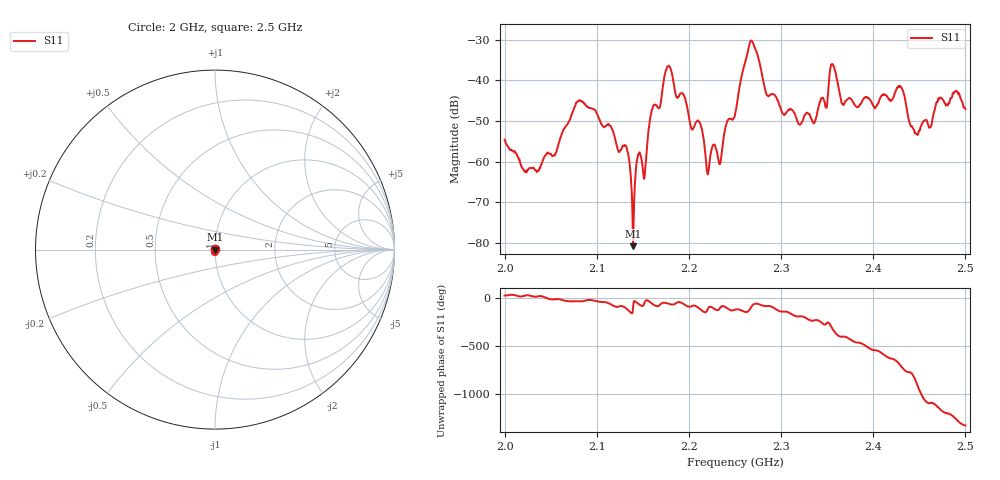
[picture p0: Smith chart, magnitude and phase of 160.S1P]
! C:\Users\rflab\Downloads\dp2_kdzw\160.S1P
! Touchstone 1.1 file saved by VNA.EXE V1.65 (www.ke5fx.com/gpib/readme.htm)
! 12/12/2024 6:59:00 PM
!  Source: HEWLETT PACKARD,8753D,0,6.14
!  Min freq: 2.000000E+009 Hz
!  Max freq: 2.500000E+009 Hz
!  Points: 801
!  Params: S21
# GHZ S MA R 50
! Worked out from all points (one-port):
!   801 points, 2 GHz to 2.5 GHz, reference 50 ohm
!   lowest |S11| = -80.8 dB at 2.139 GHz (marker M1), VSWR 1.00, Z = 50 - j0.00904 ohm
!   |S11| at or under -10 dB: start of sweep to end of sweep
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2  0.001861 28.2
2.035  0.000741 17.3
2.0625  0.002251 -19.2
2.083125  0.005573 -32.5
2.125  0.001351 -84.5
2.133125  0.001346 -116.8
2.139375  9.1e-05 -96.5
2.145  0.001232 -58.0
2.151875  0.000646 -44.8
2.159375  0.004064 -51.3
2.175625  0.01369 -51.2
2.1875  0.006051 -44.0
2.211875  0.003019 -112.5
2.220625  0.000695 -112.1
2.25  0.0038 -121.3
2.268125  0.03075 -84.5
2.285  0.006535 -81.5
2.3125  0.00426 -173.5
2.33625  0.003015 128.9
2.34875  0.004625 90.6
2.355625  0.01593 40.8
2.36625  0.005136 -43.8
2.375  0.006038 -71.6
2.42875  0.008609 26.0
2.4375  0.003757 -53.0
2.4475  0.0022 179.4
2.4725  0.006151 -81.6
2.5  0.004437 107.7
